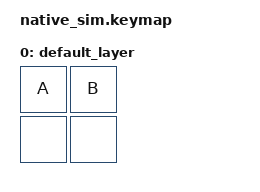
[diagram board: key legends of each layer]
#include <dt-bindings/zmk/keys.h>
#include <behaviors.dtsi>
#include <dt-bindings/zmk/input_mock.h>

/ {
    combos {
        compatible = "zmk,combos";
        combo_one {
            timeout-ms = <30>;
            key-positions = <0 1>;
            bindings = <&kp C>;
        };
        combo_two {
            timeout-ms = <120>;
            key-positions = <0 1 2>;
            bindings = <&kp C>;
        };
    };

    keymap {
        compatible = "zmk,keymap";

        default_layer {
            bindings = <
                &kp A &kp B
                &none &none
            >;
        };
    };
};

&mock_input {
    events = <
        ZMK_INPUT_MOCK_PRESS(0,0,100)
        ZMK_INPUT_MOCK_PRESS(0,1,10)
        ZMK_INPUT_MOCK_RELEASE(0,0,10)
        ZMK_INPUT_MOCK_RELEASE(0,1,10)
    >;
};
